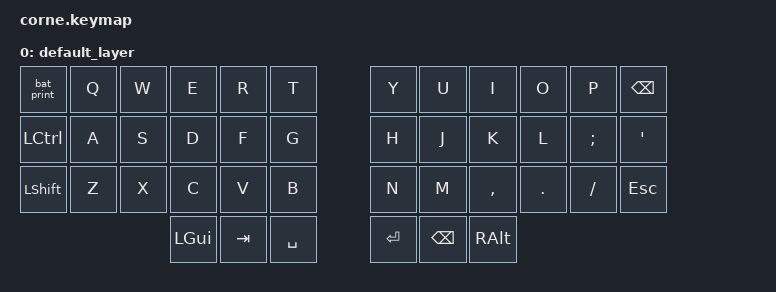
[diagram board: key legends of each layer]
#include <behaviors.dtsi>
#include <behaviors/bat_print.dtsi>
#include <dt-bindings/zmk/keys.h>

&bat_print {
	tap-ms = <20>;
	wait-ms = <10>;
};

/ {
	keymap {
		compatible = "zmk,keymap";

		default_layer {
			bindings = <
   &bat_print &kp Q &kp W &kp E &kp R &kp T   &kp Y &kp U  &kp I     &kp O   &kp P    &kp BSPC
   &kp LCTRL  &kp A &kp S &kp D &kp F &kp G   &kp H &kp J  &kp K     &kp L   &kp SEMI &kp SQT
   &kp LSHFT  &kp Z &kp X &kp C &kp V &kp B   &kp N &kp M  &kp COMMA &kp DOT &kp FSLH &kp ESC
                   &kp LGUI &kp TAB &kp SPACE   &kp RET &kp BSPC &kp RALT
			>;
		};
	};
};
